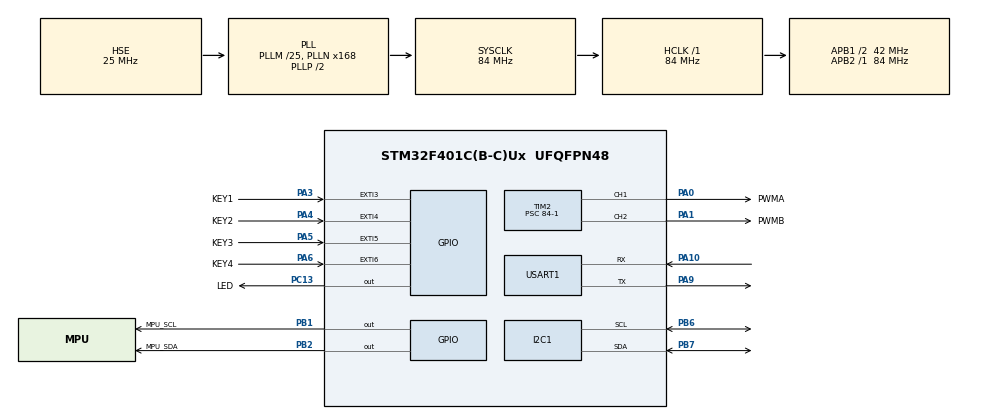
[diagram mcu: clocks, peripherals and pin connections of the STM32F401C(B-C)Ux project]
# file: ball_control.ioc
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Mcu.Family=STM32F4
Mcu.Name=STM32F401C(B-C)Ux
Mcu.Package=UFQFPN48
NVIC.EXTI3_IRQn=true\:0\:0\:false\:false\:true\:true\:true\:true
NVIC.EXTI4_IRQn=true\:0\:0\:false\:false\:true\:true\:true\:true
NVIC.EXTI9_5_IRQn=true\:0\:0\:false\:false\:true\:true\:true\:true
NVIC.PriorityGroup=NVIC_PRIORITYGROUP_4
NVIC.TIM1_UP_TIM10_IRQn=true\:1\:0\:true\:false\:true\:true\:true\:true
PA0-WKUP.GPIO_Label=PWMA
PA0-WKUP.Signal=S_TIM2_CH1_ETR
PA1.GPIO_Label=PWMB
PA1.Signal=S_TIM2_CH2
PA10.Mode=Asynchronous
PA10.Signal=USART1_RX
PA13.Mode=Serial_Wire
PA13.Signal=SYS_JTMS-SWDIO
PA14.Mode=Serial_Wire
PA14.Signal=SYS_JTCK-SWCLK
PA3.GPIO_Label=KEY1
PA3.Signal=GPXTI3
PA4.GPIO_Label=KEY2
PA4.Signal=GPXTI4
PA5.GPIO_Label=KEY3
PA5.Signal=GPXTI5
PA6.GPIO_Label=KEY4
PA6.Signal=GPXTI6
PA9.Mode=Asynchronous
PA9.Signal=USART1_TX
PB1.GPIO_Label=MPU_SCL
PB1.GPIO_ModeDefaultOutputPP=GPIO_MODE_OUTPUT_OD
PB1.GPIO_PuPd=GPIO_PULLUP
PB1.Signal=GPIO_Output
PB2.GPIO_Label=MPU_SDA
PB2.GPIO_ModeDefaultOutputPP=GPIO_MODE_OUTPUT_OD
PB2.GPIO_PuPd=GPIO_PULLUP
PB2.Signal=GPIO_Output
PB6.Mode=I2C
PB6.Signal=I2C1_SCL
PB7.Mode=I2C
PB7.Signal=I2C1_SDA
PC13-ANTI_TAMP.GPIO_Label=LED
PC13-ANTI_TAMP.Signal=GPIO_Output
PH0\ -\ OSC_IN.Mode=HSE-External-Oscillator
PH0\ -\ OSC_IN.Signal=RCC_OSC_IN
PH1\ -\ OSC_OUT.Mode=HSE-External-Oscillator
PH1\ -\ OSC_OUT.Signal=RCC_OSC_OUT
ProjectManager.HeapSize=0x200
ProjectManager.StackSize=0x400
ProjectManager.TargetToolchain=MDK-ARM V5.32
RCC.48MHZClocksFreq_Value=42000000
RCC.AHBFreq_Value=84000000
RCC.APB1CLKDivider=RCC_HCLK_DIV2
RCC.APB1Freq_Value=42000000
RCC.APB1TimFreq_Value=84000000
RCC.APB2Freq_Value=84000000
RCC.APB2TimFreq_Value=84000000
RCC.CortexFreq_Value=84000000
RCC.HCLKFreq_Value=84000000
RCC.HSE_VALUE=25000000
RCC.HSI_VALUE=16000000
RCC.LSE_VALUE=32768
RCC.PLLM=25
RCC.PLLN=168
RCC.PLLSourceVirtual=RCC_PLLSOURCE_HSE
RCC.SYSCLKFreq_VALUE=84000000
RCC.SYSCLKSource=RCC_SYSCLKSOURCE_PLLCLK
RCC.VCOOutputFreq_Value=168000000
SH.S_TIM2_CH1_ETR.0=TIM2_CH1,PWM Generation1 CH1
SH.S_TIM2_CH2.0=TIM2_CH2,PWM Generation2 CH2
TIM1.Period=10000-1
TIM1.Prescaler=84-1
TIM2.Channel-PWM\ Generation1\ CH1=TIM_CHANNEL_1
TIM2.Channel-PWM\ Generation2\ CH2=TIM_CHANNEL_2
TIM2.Period=20000-1
TIM2.Prescaler=84-1
USART1.VirtualMode=VM_ASYNC
VP_TIM1_VS_ClockSourceINT.Mode=Internal
VP_TIM2_VS_ClockSourceINT.Mode=Internal
board=custom

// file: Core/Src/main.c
/* USER CODE BEGIN Header */
/**
  ******************************************************************************
  * @file           : main.c
  * @brief          : Main program body
  ******************************************************************************
  * @attention
  *
  * Copyright (c) 2025 STMicroelectronics.
  * All rights reserved.
  *
  * This software is licensed under terms that can be found in the LICENSE file
  * in the root directory of this software component.
  * If no LICENSE file comes with this software, it is provided AS-IS.
  *
  ******************************************************************************
  */
/* USER CODE END Header */
#include "main.h"
#include "i2c.h"
#include "tim.h"
#include "usart.h"
#include "gpio.h"

/* USER CODE BEGIN Includes */
#include "PID.h"
#include "control.h"
/* USER CODE END Includes */

/* USER CODE BEGIN PV */
uint8_t uart1_rxbuff;

int displayFlag = 0;

extern UART_HandleTypeDef huart1;
/* USER CODE END PV */

void SystemClock_Config(void);

int main(void)
{

  /* MCU Configuration--------------------------------------------------------*/

  /* Reset of all peripherals, Initializes the Flash interface and the Systick. */
  HAL_Init();

  /* Configure the system clock */
  SystemClock_Config();

  /* Initialize all configured peripherals */
  MX_GPIO_Init();
  MX_TIM2_Init();
  MX_USART1_UART_Init();
  MX_I2C1_Init();
  MX_TIM1_Init();
  /* USER CODE BEGIN 2 */
  HAL_TIM_Base_Start_IT(&htim1);
  HAL_TIM_Base_Start(&htim2);
  HAL_TIM_PWM_Start(&htim2, TIM_CHANNEL_1);
  HAL_UART_Receive_IT(&huart1,&uart1_rxbuff,1);

  set_p_i_d(&pid_positionX, 0.18, 0.004, 0.1);
  set_p_i_d(&pid_positionY, 0.18, 0.004, 0.1);
  set_p_i_d(&pid_speedX, 6.3, 0,  0.005);
  set_p_i_d(&pid_speedY, 6.3, 0, 0.005);

  target_position.target_position_x = 127;
  target_position.target_position_y = 127;
  /* USER CODE END 2 */

  /* Infinite loop */
  /* USER CODE BEGIN WHILE */
  while (1)
  {
//    		 displayFlag++;
//
//		if(displayFlag >= 3)
//		{
//			displayFlag = 0;
//
//		}
    /* USER CODE END WHILE */

  }
}

void SystemClock_Config(void)
{
  RCC_OscInitTypeDef RCC_OscInitStruct = {0};
  RCC_ClkInitTypeDef RCC_ClkInitStruct = {0};

  /** Configure the main internal regulator output voltage
  */
  __HAL_RCC_PWR_CLK_ENABLE();
  __HAL_PWR_VOLTAGESCALING_CONFIG(PWR_REGULATOR_VOLTAGE_SCALE2);

  /** Initializes the RCC Oscillators according to the specified parameters
  * in the RCC_OscInitTypeDef structure.
  */
  RCC_OscInitStruct.OscillatorType = RCC_OSCILLATORTYPE_HSE;
  RCC_OscInitStruct.HSEState = RCC_HSE_ON;
  RCC_OscInitStruct.PLL.PLLState = RCC_PLL_ON;
  RCC_OscInitStruct.PLL.PLLSource = RCC_PLLSOURCE_HSE;
  RCC_OscInitStruct.PLL.PLLM = 25;
  RCC_OscInitStruct.PLL.PLLN = 168;
  RCC_OscInitStruct.PLL.PLLP = RCC_PLLP_DIV2;
  RCC_OscInitStruct.PLL.PLLQ = 4;
  if (HAL_RCC_OscConfig(&RCC_OscInitStruct) != HAL_OK)
  {
    Error_Handler();
  }

  /** Initializes the CPU, AHB and APB buses clocks
  */
  RCC_ClkInitStruct.ClockType = RCC_CLOCKTYPE_HCLK|RCC_CLOCKTYPE_SYSCLK
                              |RCC_CLOCKTYPE_PCLK1|RCC_CLOCKTYPE_PCLK2;
  RCC_ClkInitStruct.SYSCLKSource = RCC_SYSCLKSOURCE_PLLCLK;
  RCC_ClkInitStruct.AHBCLKDivider = RCC_SYSCLK_DIV1;
  RCC_ClkInitStruct.APB1CLKDivider = RCC_HCLK_DIV2;
  RCC_ClkInitStruct.APB2CLKDivider = RCC_HCLK_DIV1;

  if (HAL_RCC_ClockConfig(&RCC_ClkInitStruct, FLASH_LATENCY_2) != HAL_OK)
  {
    Error_Handler();
  }
}

void Error_Handler(void)
{
  __disable_irq();
  while (1)
  {
  }
}
